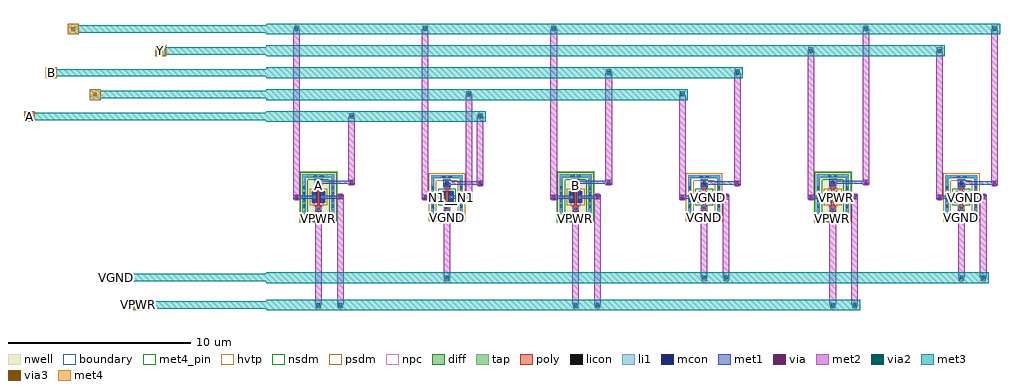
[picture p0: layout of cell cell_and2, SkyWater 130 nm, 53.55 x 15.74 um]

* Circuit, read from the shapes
.subckt cell_and2 A B N N1__N1 VGND VPWR Y
XM1 N1__N1 A N VGND sky130_fd_pr__nfet_01v8 w=0.65 l=0.15
XM2 VGND B N1__N1 VGND sky130_fd_pr__nfet_01v8 w=0.65 l=0.15
XM3 VGND N Y VGND sky130_fd_pr__nfet_01v8 w=0.65 l=0.15
XM4 VPWR A N VPWR sky130_fd_pr__pfet_01v8_hvt w=0.65 l=0.15
XM5 VPWR B N VPWR sky130_fd_pr__pfet_01v8_hvt w=0.65 l=0.15
XM6 VPWR N Y VPWR sky130_fd_pr__pfet_01v8_hvt w=0.65 l=0.15
.ends

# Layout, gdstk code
import gdstk
lib = gdstk.Library(unit=1e-6, precision=1e-09)
def R(c, l, rs):  # rectangles x0, y0, x1, y1
    for r in rs: c.add(gdstk.rectangle(r[:2], r[2:], *l))
def A(c, l, x, y, w, h, nx, ny, dx, dy):  # array of equal rectangles
    R(c, l, [(x+i*dx, y+j*dy, x+i*dx+w, y+j*dy+h) for i in range(nx) for j in range(ny)])
def P(c, l, *ps):  # polygons
    for p in ps: c.add(gdstk.Polygon(p, *l))
nwell = (64, 20)
diff = (65, 20)
tap = (65, 44)
poly = (66, 20)
licon = (66, 44)
li1 = (67, 20)
mcon = (67, 44)
met1 = (68, 20)
via = (68, 44)
met2 = (69, 20)
via2 = (69, 44)
met3 = (70, 20)
via3 = (70, 44)
met4_pin = (71, 16)
met4 = (71, 20)
hvtp = (78, 44)
nsdm = (93, 44)
psdm = (94, 20)
npc = (95, 20)
boundary = (235, 4)

cell_and2 = lib.new_cell('cell_and2')
A(cell_and2, nwell, 25.4, 14.8, 2.11, 2.84, 3, 1, 14.11, 0)
A(cell_and2, diff, 26.09, 15.895, 0.73, 0.65, 6, 1, 7.055, 0)
A(cell_and2, tap, 25.58, 14.98, 1.75, 0.17, 3, 2, 14.11, 2.31)
A(cell_and2, tap, 32.635, 15.025, 1.75, 0.17, 3, 2, 14.11, 2.22)
R(cell_and2, tap, [(25.58,15.15,25.75,17.29), (27.16,15.15,27.33,17.29), (39.69,15.15,39.86,17.29), (41.27,15.15,41.44,17.29), (53.8,15.15,53.97,17.29), (55.38,15.15,55.55,17.29), (32.635,15.195,32.805,17.245), (34.215,15.195,34.385,17.245), (46.745,15.195,46.915,17.245), (48.325,15.195,48.495,17.245), (60.855,15.195,61.025,17.245), (62.435,15.195,62.605,17.245)])
A(cell_and2, poly, 26.29, 15.41, 0.33, 0.33, 3, 2, 14.11, 1.29)
A(cell_and2, poly, 33.345, 15.455, 0.33, 0.33, 3, 2, 14.11, 1.2)
A(cell_and2, poly, 26.38, 15.74, 0.15, 0.96, 3, 1, 14.11, 0)
A(cell_and2, poly, 33.435, 15.785, 0.15, 0.87, 3, 1, 14.11, 0)
A(cell_and2, licon, 26.37, 15.49, 0.17, 0.17, 3, 2, 14.11, 1.29)
A(cell_and2, licon, 33.425, 15.535, 0.17, 0.17, 3, 2, 14.11, 1.2)
A(cell_and2, licon, 25.58, 15.625, 0.17, 0.17, 1, 4, 0, 0.34)
A(cell_and2, licon, 27.16, 15.625, 0.17, 0.17, 1, 4, 0, 0.34)
A(cell_and2, licon, 32.635, 15.625, 0.17, 0.17, 1, 4, 0, 0.34)
A(cell_and2, licon, 34.215, 15.625, 0.17, 0.17, 1, 4, 0, 0.34)
A(cell_and2, licon, 39.69, 15.625, 0.17, 0.17, 1, 4, 0, 0.34)
A(cell_and2, licon, 41.27, 15.625, 0.17, 0.17, 1, 4, 0, 0.34)
A(cell_and2, licon, 46.745, 15.625, 0.17, 0.17, 1, 4, 0, 0.34)
A(cell_and2, licon, 48.325, 15.625, 0.17, 0.17, 1, 4, 0, 0.34)
A(cell_and2, licon, 53.8, 15.625, 0.17, 0.17, 1, 4, 0, 0.34)
A(cell_and2, licon, 55.38, 15.625, 0.17, 0.17, 1, 4, 0, 0.34)
A(cell_and2, licon, 60.855, 15.625, 0.17, 0.17, 1, 4, 0, 0.34)
A(cell_and2, licon, 62.435, 15.625, 0.17, 0.17, 1, 4, 0, 0.34)
R(cell_and2, licon, [(26.2,14.98,26.37,15.15), (26.54,14.98,26.71,15.15), (40.31,14.98,40.48,15.15), (40.65,14.98,40.82,15.15), (54.42,14.98,54.59,15.15), (54.76,14.98,54.93,15.15), (33.255,15.025,33.425,15.195), (33.595,15.025,33.765,15.195), (47.365,15.025,47.535,15.195), (47.705,15.025,47.875,15.195), (61.475,15.025,61.645,15.195), (61.815,15.025,61.985,15.195), (26.15,15.965,26.32,16.135), (26.59,15.965,26.76,16.135), (33.205,15.965,33.375,16.135), (33.645,15.965,33.815,16.135), (40.26,15.965,40.43,16.135), (40.7,15.965,40.87,16.135), (47.315,15.965,47.485,16.135), (47.755,15.965,47.925,16.135), (54.37,15.965,54.54,16.135), (54.81,15.965,54.98,16.135), (61.425,15.965,61.595,16.135), (61.865,15.965,62.035,16.135), (26.15,16.305,26.32,16.475), (26.59,16.305,26.76,16.475), (33.205,16.305,33.375,16.475), (33.645,16.305,33.815,16.475), (40.26,16.305,40.43,16.475), (40.7,16.305,40.87,16.475), (47.315,16.305,47.485,16.475), (47.755,16.305,47.925,16.475), (54.37,16.305,54.54,16.475), (54.81,16.305,54.98,16.475), (61.425,16.305,61.595,16.475), (61.865,16.305,62.035,16.475), (33.255,17.245,33.425,17.415), (33.595,17.245,33.765,17.415), (47.365,17.245,47.535,17.415), (47.705,17.245,47.875,17.415), (61.475,17.245,61.645,17.415), (61.815,17.245,61.985,17.415), (26.2,17.29,26.37,17.46), (26.54,17.29,26.71,17.46), (40.31,17.29,40.48,17.46), (40.65,17.29,40.82,17.46), (54.42,17.29,54.59,17.46), (54.76,17.29,54.93,17.46)])
A(cell_and2, li1, 25.58, 14.98, 1.75, 0.17, 3, 2, 14.11, 2.31)
A(cell_and2, li1, 32.635, 15.025, 1.75, 0.17, 3, 2, 14.11, 2.22)
A(cell_and2, li1, 26.29, 15.49, 0.33, 0.17, 3, 2, 14.11, 1.29)
A(cell_and2, li1, 33.345, 15.535, 0.33, 0.17, 3, 2, 14.11, 1.2)
A(cell_and2, li1, 33.425, 16.735, 0.17, 0.34, 3, 1, 14.11, 0)
A(cell_and2, li1, 26.37, 16.78, 0.17, 0.34, 3, 1, 14.11, 0)
R(cell_and2, li1, [(25.58,15.15,25.75,17.29), (27.16,15.15,27.33,17.29), (39.69,15.15,39.86,17.29), (41.27,15.15,41.44,17.29), (53.8,15.15,53.97,17.29), (55.38,15.15,55.55,17.29), (32.635,15.195,32.805,17.245), (34.215,15.195,34.385,17.245), (46.745,15.195,46.915,17.245), (48.325,15.195,48.495,17.245), (60.855,15.195,61.025,17.245), (62.435,15.195,62.605,17.245), (26.15,15.875,26.32,16.565), (26.59,15.875,26.76,16.565), (33.205,15.875,33.375,16.565), (33.645,15.875,33.815,16.565), (40.26,15.875,40.43,16.565), (40.7,15.875,40.87,16.565), (47.315,15.875,47.485,16.565), (47.755,15.875,47.925,16.565), (54.37,15.875,54.54,16.565), (54.81,15.875,54.98,16.565), (61.425,15.875,61.595,16.565), (61.865,15.875,62.035,16.565)])
A(cell_and2, mcon, 26.37, 14.98, 0.17, 0.17, 3, 2, 14.11, 1.97)
A(cell_and2, mcon, 33.425, 15.025, 0.17, 0.17, 3, 2, 14.11, 1.88)
R(cell_and2, mcon, [(26.15,15.955,26.32,16.125), (26.59,15.955,26.76,16.125), (33.205,15.955,33.375,16.125), (33.645,15.955,33.815,16.125), (40.26,15.955,40.43,16.125), (40.7,15.955,40.87,16.125), (47.315,15.955,47.485,16.125), (47.755,15.955,47.925,16.125), (54.37,15.955,54.54,16.125), (54.81,15.955,54.98,16.125), (61.425,15.955,61.595,16.125), (61.865,15.955,62.035,16.125), (26.15,16.315,26.32,16.485), (26.59,16.315,26.76,16.485), (33.205,16.315,33.375,16.485), (33.645,16.315,33.815,16.485), (40.26,16.315,40.43,16.485), (40.7,16.315,40.87,16.485), (47.315,16.315,47.485,16.485), (47.755,16.315,47.925,16.485), (54.37,16.315,54.54,16.485), (54.81,16.315,54.98,16.485), (61.425,16.315,61.595,16.485), (61.865,16.315,62.035,16.485)])
A(cell_and2, met1, 26.255, 14.865, 0.4, 0.4, 3, 2, 14.11, 1.97)
A(cell_and2, met1, 33.31, 14.91, 0.4, 0.4, 3, 2, 14.11, 1.88)
A(cell_and2, met1, 26.275, 14.935, 0.36, 0.26, 3, 1, 14.11, 0)
A(cell_and2, met1, 33.33, 14.98, 0.36, 0.26, 3, 1, 14.11, 0)
A(cell_and2, met1, 35.15, 16.86, 0.36, 0.26, 3, 1, 14.11, 0)
A(cell_and2, met1, 28.095, 16.905, 0.36, 0.26, 3, 1, 14.11, 0)
A(cell_and2, met1, 33.51, 16.905, 1.82, 0.17, 3, 1, 14.11, 0)
A(cell_and2, met1, 26.455, 16.95, 1.82, 0.17, 3, 1, 14.11, 0)
R(cell_and2, met1, [(26.12,15.895,26.35,16.545), (26.56,15.895,26.79,16.545), (33.175,15.895,33.405,16.545), (33.615,15.895,33.845,16.545), (40.23,15.895,40.46,16.545), (40.67,15.895,40.9,16.545), (47.285,15.895,47.515,16.545), (47.725,15.895,47.955,16.545), (54.34,15.895,54.57,16.545), (54.78,15.895,55.01,16.545), (61.395,15.895,61.625,16.545), (61.835,15.895,62.065,16.545), (25.075,16.09,25.435,16.35), (27.475,16.09,27.835,16.35), (32.13,16.09,32.49,16.35), (34.53,16.09,34.89,16.35), (39.185,16.09,39.545,16.35), (41.585,16.09,41.945,16.35), (46.24,16.09,46.6,16.35), (48.64,16.09,49,16.35), (53.295,16.09,53.655,16.35), (55.695,16.09,56.055,16.35), (60.35,16.09,60.71,16.35), (62.75,16.09,63.11,16.35), (25.255,16.135,26.235,16.305), (26.675,16.135,27.655,16.305), (32.31,16.135,33.29,16.305), (33.73,16.135,34.71,16.305), (39.365,16.135,40.345,16.305), (40.785,16.135,41.765,16.305), (46.42,16.135,47.4,16.305), (47.84,16.135,48.82,16.305), (53.475,16.135,54.455,16.305), (54.895,16.135,55.875,16.305), (60.53,16.135,61.51,16.305), (61.95,16.135,62.93,16.305)])
P(cell_and2, met1, [(40.565,14.98),(40.565,15.15),(40.565,15.15),(40.565,14.98)],
  [(26.455,14.98),(26.455,15.15),(26.455,15.15),(26.455,14.98)],
  [(54.675,14.98),(54.675,15.15),(54.675,15.15),(54.675,14.98)],
  [(61.73,15.025),(61.73,15.195),(61.73,15.195),(61.73,15.025)],
  [(33.51,15.025),(33.51,15.195),(33.51,15.195),(33.51,15.025)],
  [(47.62,15.025),(47.62,15.195),(47.62,15.195),(47.62,15.025)])
A(cell_and2, via, 26.38, 14.99, 0.15, 0.15, 3, 1, 14.11, 0)
A(cell_and2, via, 33.435, 15.035, 0.15, 0.15, 3, 1, 14.11, 0)
A(cell_and2, via, 35.255, 16.915, 0.15, 0.15, 3, 1, 14.11, 0)
A(cell_and2, via, 28.2, 16.96, 0.15, 0.15, 3, 1, 14.11, 0)
R(cell_and2, via, [(25.18,16.145,25.33,16.295), (27.58,16.145,27.73,16.295), (32.235,16.145,32.385,16.295), (34.635,16.145,34.785,16.295), (39.29,16.145,39.44,16.295), (41.69,16.145,41.84,16.295), (46.345,16.145,46.495,16.295), (48.745,16.145,48.895,16.295), (53.4,16.145,53.55,16.295), (55.8,16.145,55.95,16.295), (60.455,16.145,60.605,16.295), (62.855,16.145,63.005,16.295)])
A(cell_and2, met2, 26.275, 10.3, 0.36, 4.765, 3, 1, 14.11, 0)
A(cell_and2, met2, 27.475, 10.3, 0.36, 5.92, 3, 1, 14.11, 0)
A(cell_and2, met2, 33.33, 11.8, 0.36, 3.31, 3, 1, 14.11, 0)
A(cell_and2, met2, 26.325, 14.885, 0.26, 0.36, 3, 1, 14.11, 0)
A(cell_and2, met2, 33.38, 14.93, 0.26, 0.36, 3, 1, 14.11, 0)
A(cell_and2, met2, 25.075, 16.22, 0.36, 9.22, 3, 1, 7.055, 0)
A(cell_and2, met2, 35.2, 16.81, 0.26, 0.36, 3, 1, 14.11, 0)
A(cell_and2, met2, 28.145, 16.855, 0.26, 0.36, 3, 1, 14.11, 0)
A(cell_and2, met2, 25.115, 25.25, 0.28, 0.38, 3, 1, 7.055, 0)
R(cell_and2, met2, [(26.315,10.11,26.595,10.49), (27.515,10.11,27.795,10.49), (40.425,10.11,40.705,10.49), (41.625,10.11,41.905,10.49), (54.535,10.11,54.815,10.49), (55.735,10.11,56.015,10.49), (33.37,11.61,33.65,11.99), (47.48,11.61,47.76,11.99), (48.68,11.61,48.96,11.99), (61.59,11.61,61.87,11.99), (62.79,11.61,63.07,11.99), (48.64,11.8,49,16.22), (62.75,11.8,63.11,16.22), (25.125,16.04,25.385,16.4), (27.525,16.04,27.785,16.4), (32.18,16.04,32.44,16.4), (34.58,16.04,34.84,16.4), (39.235,16.04,39.495,16.4), (41.635,16.04,41.895,16.4), (46.29,16.04,46.55,16.4), (48.69,16.04,48.95,16.4), (53.345,16.04,53.605,16.4), (55.745,16.04,56.005,16.4), (60.4,16.04,60.66,16.4), (62.8,16.04,63.06,16.4), (34.53,16.22,34.89,21.84), (46.24,16.22,46.6,21.84), (53.295,16.22,53.655,24.24), (60.35,16.22,60.71,24.24), (35.15,16.99,35.51,20.64), (49.26,16.99,49.62,23.04), (63.37,16.99,63.73,25.44), (28.095,17.035,28.455,20.64), (42.205,17.035,42.565,23.04), (56.315,17.035,56.675,25.44), (28.135,20.45,28.415,20.83), (35.19,20.45,35.47,20.83), (34.57,21.65,34.85,22.03), (46.28,21.65,46.56,22.03), (42.245,22.85,42.525,23.23), (49.3,22.85,49.58,23.23), (53.335,24.05,53.615,24.43), (60.39,24.05,60.67,24.43), (56.355,25.25,56.635,25.63), (63.41,25.25,63.69,25.63)])
A(cell_and2, via2, 25.155, 25.34, 0.2, 0.2, 3, 1, 7.055, 0)
R(cell_and2, via2, [(26.355,10.2,26.555,10.4), (27.555,10.2,27.755,10.4), (40.465,10.2,40.665,10.4), (41.665,10.2,41.865,10.4), (54.575,10.2,54.775,10.4), (55.775,10.2,55.975,10.4), (33.41,11.7,33.61,11.9), (47.52,11.7,47.72,11.9), (48.72,11.7,48.92,11.9), (61.63,11.7,61.83,11.9), (62.83,11.7,63.03,11.9), (28.175,20.54,28.375,20.74), (35.23,20.54,35.43,20.74), (34.61,21.74,34.81,21.94), (46.32,21.74,46.52,21.94), (42.285,22.94,42.485,23.14), (49.34,22.94,49.54,23.14), (53.375,24.14,53.575,24.34), (60.43,24.14,60.63,24.34), (56.395,25.34,56.595,25.54), (63.45,25.34,63.65,25.54)])
A(cell_and2, met3, 25.005, 25.19, 0.5, 0.5, 3, 1, 7.055, 0)
R(cell_and2, met3, [(16.3,10,16.9,10.6), (23.6,10,56.175,10.6), (26.205,10.05,26.705,10.55), (27.405,10.05,27.905,10.55), (40.315,10.05,40.815,10.55), (41.515,10.05,42.015,10.55), (54.425,10.05,54.925,10.55), (55.625,10.05,56.125,10.55), (15.1,11.5,15.7,12.1), (23.6,11.5,63.23,12.1), (33.26,11.55,33.76,12.05), (47.37,11.55,47.87,12.05), (48.57,11.55,49.07,12.05), (61.48,11.55,61.98,12.05), (62.68,11.55,63.18,12.05), (10.3,20.34,10.9,20.94), (23.6,20.34,35.63,20.94), (28.025,20.39,28.525,20.89), (35.08,20.39,35.58,20.89), (13.9,21.54,14.5,22.14), (23.6,21.54,46.72,22.14), (34.46,21.59,34.96,22.09), (46.17,21.59,46.67,22.09), (11.5,22.74,12.1,23.34), (23.6,22.74,49.74,23.34), (42.135,22.79,42.635,23.29), (49.19,22.79,49.69,23.29), (17.5,23.94,18.1,24.54), (23.6,23.94,60.83,24.54), (53.225,23.99,53.725,24.49), (60.28,23.99,60.78,24.49), (12.7,25.14,13.3,25.74), (23.6,25.14,63.85,25.74), (56.245,25.19,56.745,25.69), (63.3,25.19,63.8,25.69)])
R(cell_and2, via3, [(16.5,10.2,16.7,10.4), (15.3,11.7,15.5,11.9), (10.5,20.54,10.7,20.74), (14.1,21.74,14.3,21.94), (11.7,22.94,11.9,23.14), (17.7,24.14,17.9,24.34), (12.9,25.34,13.1,25.54)])
R(cell_and2, met4_pin, [(16.35,10.05,16.85,10.55), (15.15,11.55,15.65,12.05), (10.35,20.39,10.85,20.89), (11.55,22.79,12.05,23.29), (17.55,23.99,18.05,24.49)])
R(cell_and2, met4, [(16.3,10,16.9,10.6), (16.35,10,16.85,10.6), (15.1,11.5,15.7,12.1), (15.15,11.5,15.65,12.1), (10.3,20.34,10.9,20.94), (10.35,20.34,10.85,20.94), (13.9,21.54,14.5,22.14), (13.95,21.54,14.45,22.14), (11.5,22.74,12.1,23.34), (11.55,22.74,12.05,23.34), (17.5,23.94,18.1,24.54), (17.55,23.94,18.05,24.54), (12.7,25.14,13.3,25.74), (12.75,25.14,13.25,25.74)])
A(cell_and2, hvtp, 26.2, 15.715, 0.51, 1.01, 3, 1, 14.11, 0)
A(cell_and2, nsdm, 25.455, 14.855, 2, 0.42, 3, 2, 14.11, 2.31)
A(cell_and2, nsdm, 33.02, 15.77, 0.98, 0.9, 3, 1, 14.11, 0)
R(cell_and2, nsdm, [(25.455,15.275,25.875,17.165), (27.035,15.275,27.455,17.165), (39.565,15.275,39.985,17.165), (41.145,15.275,41.565,17.165), (53.675,15.275,54.095,17.165), (55.255,15.275,55.675,17.165)])
A(cell_and2, psdm, 32.51, 14.9, 2, 0.42, 3, 2, 14.11, 2.22)
A(cell_and2, psdm, 25.965, 15.77, 0.98, 0.9, 3, 1, 14.11, 0)
R(cell_and2, psdm, [(32.51,15.32,32.93,17.12), (34.09,15.32,34.51,17.12), (46.62,15.32,47.04,17.12), (48.2,15.32,48.62,17.12), (60.73,15.32,61.15,17.12), (62.31,15.32,62.73,17.12)])
A(cell_and2, npc, 26.27, 15.39, 0.37, 0.37, 3, 2, 14.11, 1.29)
A(cell_and2, npc, 33.325, 15.435, 0.37, 0.37, 3, 2, 14.11, 1.2)
A(cell_and2, boundary, 25.665, 15.065, 1.58, 2.31, 3, 1, 14.11, 0)
A(cell_and2, boundary, 32.72, 15.11, 1.58, 2.22, 3, 1, 14.11, 0)
cell_and2.add(gdstk.FlexPath([(10.6,20.64),(23.6,20.64)], 0.4, ends="flush", simple_path=True, layer=70, datatype=20))  # met3
cell_and2.add(gdstk.FlexPath([(11.8,23.04),(23.6,23.04)], 0.4, ends="flush", simple_path=True, layer=70, datatype=20))  # met3
cell_and2.add(gdstk.FlexPath([(13,25.44),(23.6,25.44)], 0.4, ends="flush", simple_path=True, layer=70, datatype=20))  # met3
cell_and2.add(gdstk.FlexPath([(14.2,21.84),(23.6,21.84)], 0.4, ends="flush", simple_path=True, layer=70, datatype=20))  # met3
cell_and2.add(gdstk.FlexPath([(17.8,24.24),(23.6,24.24)], 0.4, ends="flush", simple_path=True, layer=70, datatype=20))  # met3
cell_and2.add(gdstk.FlexPath([(15.4,11.8),(23.6,11.8)], 0.4, ends="flush", simple_path=True, layer=70, datatype=20))  # met3
cell_and2.add(gdstk.FlexPath([(16.6,10.3),(23.6,10.3)], 0.4, ends="flush", simple_path=True, layer=70, datatype=20))  # met3
cell_and2.add(gdstk.Label('B', (40.565,16.865), layer=67, texttype=5))
cell_and2.add(gdstk.Label('VPWR', (26.455,15.065), layer=67, texttype=5))
cell_and2.add(gdstk.Label('N', (40.345,16.22), layer=67, texttype=5))
cell_and2.add(gdstk.Label('VPWR', (40.785,16.22), layer=67, texttype=5))
cell_and2.add(gdstk.Label('VGND', (47.62,15.11), layer=67, texttype=5))
cell_and2.add(gdstk.Label('VGND', (47.84,16.22), layer=67, texttype=5))
cell_and2.add(gdstk.Label('VPWR', (40.565,15.065), layer=67, texttype=5))
cell_and2.add(gdstk.Label('N1__N1', (33.73,16.22), layer=67, texttype=5))
cell_and2.add(gdstk.Label('N', (33.29,16.22), layer=67, texttype=5))
cell_and2.add(gdstk.Label('A', (33.51,16.82), layer=67, texttype=5))
cell_and2.add(gdstk.Label('VPWR', (54.895,16.22), layer=67, texttype=5))
cell_and2.add(gdstk.Label('VGND', (61.95,16.22), layer=67, texttype=5))
cell_and2.add(gdstk.Label('Y', (61.51,16.22), layer=67, texttype=5))
cell_and2.add(gdstk.Label('VGND', (61.73,15.11), layer=67, texttype=5))
cell_and2.add(gdstk.Label('Y', (54.455,16.22), layer=67, texttype=5))
cell_and2.add(gdstk.Label('N', (54.675,16.865), layer=67, texttype=5))
cell_and2.add(gdstk.Label('VGND', (33.51,15.11), layer=67, texttype=5))
cell_and2.add(gdstk.Label('VPWR', (54.675,15.065), layer=67, texttype=5))
cell_and2.add(gdstk.Label('B', (47.62,16.82), layer=67, texttype=5))
cell_and2.add(gdstk.Label('A', (26.455,16.865), layer=67, texttype=5))
cell_and2.add(gdstk.Label('N', (61.73,16.82), layer=67, texttype=5))
cell_and2.add(gdstk.Label('N1__N1', (47.4,16.22), layer=67, texttype=5))
cell_and2.add(gdstk.Label('N', (26.235,16.22), layer=67, texttype=5))
cell_and2.add(gdstk.Label('VPWR', (26.675,16.22), layer=67, texttype=5))
cell_and2.add(gdstk.Label('A', (10.6,20.64), layer=71, texttype=5))
cell_and2.add(gdstk.Label('B', (11.8,23.04), layer=71, texttype=5))
cell_and2.add(gdstk.Label('VGND', (15.4,11.8), layer=71, texttype=5))
cell_and2.add(gdstk.Label('VPWR', (16.6,10.3), layer=71, texttype=5))
cell_and2.add(gdstk.Label('Y', (17.8,24.24), layer=71, texttype=5))

lib.write_gds('cell_and2.gds')
